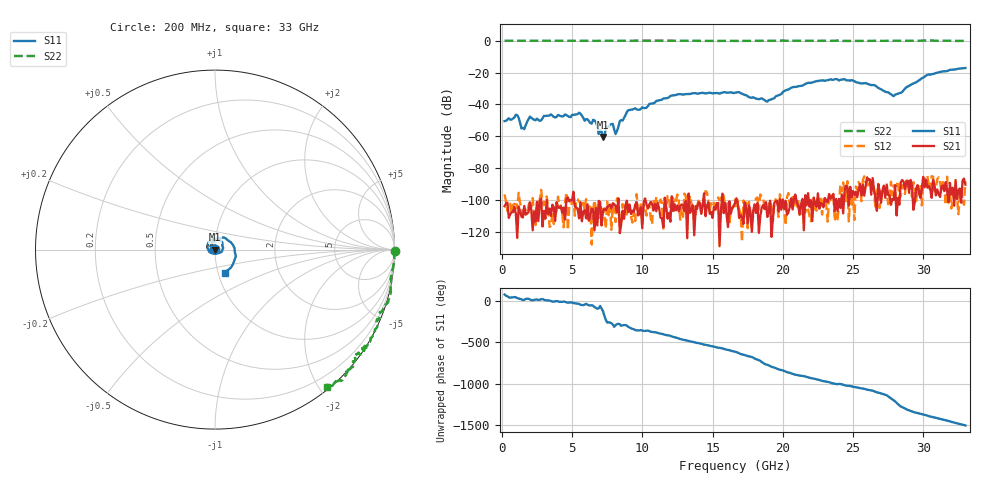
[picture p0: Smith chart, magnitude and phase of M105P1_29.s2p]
# GHZ S RI R 50
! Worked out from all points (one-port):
!   329 points, 200 MHz to 33 GHz, reference 50 ohm
!   lowest |S11| = -60.4 dB at 7.2 GHz (marker M1), VSWR 1.00, Z = 50 - j0.0844 ohm
!   |S11| at or under -10 dB: start of sweep to end of sweep
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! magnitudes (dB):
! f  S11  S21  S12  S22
! 200 MHz  -50.5  -103.9  -96.5  0.0
! 1 GHz  -46.4  -108.4  -100.8  0.0
! 1.6 GHz  -55.5  -103.7  -105.5  0.0
! 2 GHz  -47.6  -101.4  -100.5  0.0
! 5.7 GHz  -47.0  -113.3  -104.5  -0.1
! 6.6 GHz  -50.0  -119.1  -100.2  -0.1
! 6.9 GHz  -58.6  -100.5  -111.6  -0.1
! 7 GHz  -56.2  -101.3  -102.6  -0.1
! 7.2 GHz  -60.4  -107.2  -106.0  -0.1
! 7.9 GHz  -52.2  -102.0  -103.2  0.0
! 8.1 GHz  -58.6  -103.7  -113.8  0.0
! 8.4 GHz  -50.5  -120.8  -116.6  0.0
! 9 GHz  -43.6  -107.5  -102.0  0.0
! 11.2 GHz  -37.4  -105.2  -101.9  0.0
! 16.6 GHz  -32.7  -102.0  -99.8  -0.2
! 18.9 GHz  -38.2  -110.6  -106.7  0.0
! 22.1 GHz  -26.2  -113.2  -106.2  0.0
! 24.9 GHz  -24.7  -98.2  -102.8  -0.2
! 27.6 GHz  -33.0  -97.1  -100.6  0.0
! 28.4 GHz  -32.8  -88.8  -97.4  0.1
! 30.3 GHz  -21.5  -92.2  -84.9  0.1
! 33 GHz  -17.1  -90.4  -88.3  -0.1
